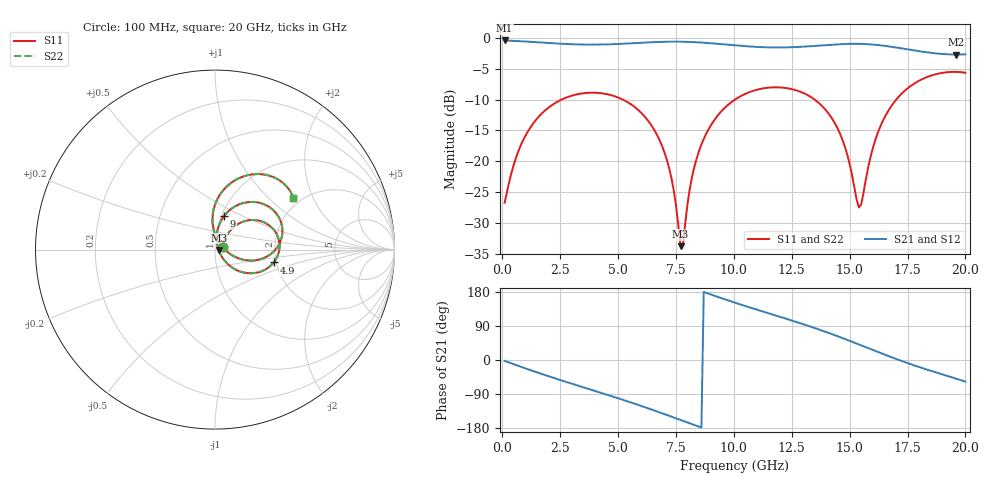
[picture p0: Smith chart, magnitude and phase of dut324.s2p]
! Touchstone file exported from HFSS 2026.1.0
!  File:  C:/ffzhzh/LocalFiles/Ansys_Project_Files/temp_train_TSV_RDL_324_1783032146_46388.aedt
!  Generated:  06:57:12 AM Jul  3, 2026
!  Design:  TSV_RDL
!  Project:  temp_train_TSV_RDL_324_1783032146_46388
! Variables:
!  h_bsmrdl = 5.91um
!  h_ox = 20um
!  h_rdl = 5um
!  h_sub = 79.65um
!  h_tmrdl = 2.49um
!  h_tsv = 79.65um
!  h_via = 3um
!  l_bsmrdl = 710.75um
!  l_sub = 6455.26um
!  l_tmrdl = 949.14um
!  m_sub = 200um
!  pitch = 37.26um
!  r_tsv = 13.09um
!  s_tmrdl = 10um
!  w_bsmrdl = 28.08um
!  w_sub = 500um
!  w_tmrdl = 14.07um
!  x_tsv_center1 = 956.175um
!  x_tsv_center2 = 1695.005um
!  x_tsv_center3 = 2658.215um
!  x_tsv_center4 = 3397.045um
!  x_tsv_center5 = 4360.255um
!  x_tsv_center6 = 5099.085um
# GHz S MA R 50.000000
! Terminal data exported
! Port[1] = TM_RDL1_1_T1
! Port[2] = TM_RDL5_1_T1
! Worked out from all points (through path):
!   200 points, 100 MHz to 20 GHz, reference 50 ohm
!   highest |S21| = -0.38 dB at 100 MHz (marker M1); lowest = -2.7 dB at 19.6 GHz (marker M2)
!   group delay of S21, straight-line fit = 58 ps
!   lowest |S11| = -33.8 dB at 7.7 GHz (marker M3), VSWR 1.04, Z = 52.1 - j0.138 ohm
!   |S11| at or under -10 dB: start of sweep to 2.551 GHz; 5.214 GHz to 10.04 GHz (4.829 GHz wide, 63.3 % of centre); 13.5 GHz to 17.01 GHz (3.515 GHz wide, 23 % of centre)
!   |S22| runs from -33.8 to -5.5 dB; largest |S21 - S12| = 1.7e-14
!   S11 on the Smith chart (normalised r, x): 100 MHz: 1.09, +0.04; 4.9 GHz: 1.94, -0.31; 9 GHz: 1.03, +0.40; 20 GHz: 1.81, +1.44
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0.1  0.04599 20.7  0.9575 -2.3  0.9575 -2.3  0.04599 20.7
! Gamma 0 0 0 0
! Port Impedance 50 0 50 0
0.6  0.1079 50.5  0.9478 -13.5  0.9478 -13.5  0.1079 50.5
1.3  0.1987 47.3  0.9312 -28.5  0.9312 -28.5  0.1987 47.3
3.5  0.3568 12.1  0.8873 -72.1  0.8873 -72.1  0.3568 12.1
4.9  0.3349 -12.3  0.8948 -99.0  0.8948 -99.0  0.3349 -12.3
6.8  0.1473 -45.5  0.9318 -138.3  0.9318 -138.3  0.1473 -45.5
7.3  0.0737 -48.5  0.9362 -149.4  0.9362 -149.4  0.07371 -48.6
7.7  0.02043 -3.7  0.9357 -158.3  0.9357 -158.3  0.02047 -3.7
7.8  0.02085 40.2  0.935 -160.5  0.935 -160.5  0.02088 40.1
8  0.04513 76.6  0.9328 -165.0  0.9328 -165.0  0.04515 76.5
8.3  0.09095 83.0  0.9277 -171.7  0.9277 -171.7  0.09097 82.9
9  0.1947 74.8  0.9091 173.0  0.9091 173.0  0.1948 74.7
10.1  0.3215 55.3  0.872 150.2  0.872 150.2  0.3215 55.2
11.9  0.3986 23.8  0.8398 115.7  0.8398 115.7  0.3987 23.7
13.4  0.3256 -2.1  0.8624 86.3  0.8624 86.3  0.3256 -2.4
14.6  0.1649 -19.7  0.8935 60.0  0.8935 60.0  0.1647 -20.2
15.4  0.04216 30.5  0.8989 41.0  0.8989 41.0  0.04073 30.0
16.1  0.147 95.0  0.8837 24.0  0.8837 24.0  0.1465 95.5
16.7  0.2623 89.0  0.8566 9.8  0.8566 9.8  0.2619 89.2
18.1  0.4611 64.8  0.7779 -20.5  0.7779 -20.5  0.4609 64.9
19.6  0.532 39.9  0.736 -49.2  0.736 -49.2  0.5319 39.9
20  0.523 33.5  0.7389 -56.9  0.7389 -56.9  0.5228 33.5
